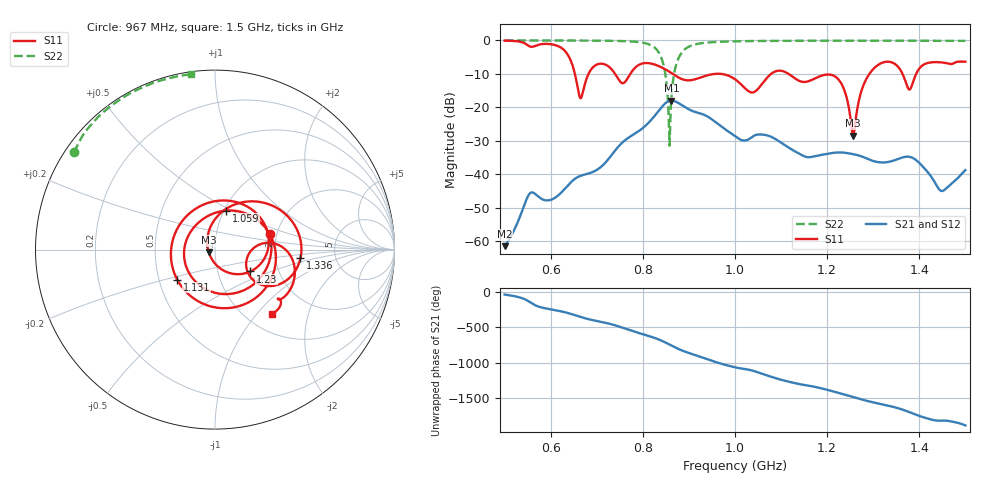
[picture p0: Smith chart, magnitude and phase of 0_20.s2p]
! TOUCHSTONE file generated by CST MICROWAVE STUDIO
! Date and time: Sat Oct 24 10:45:32 2020
! Project name: Scenario_1_Planar_Body_Tissue_Center.cst
! Parameters = {hfat=3; hmuscle=50; hskin=1.5; hgap=25; Wtissue=700; Ltissue=700; L_HA=400; MT=2.54; Rad_Dielectric=30; Rad_Lower=7.3; Rad_Upper=30; a_HA=580; a_WG=246; b_HA=500; b_WG=121; c_HA=0; c_WG=187; d_feed=85; dx1=502.08; h_feed=15; h_lower=18; h_upper=40}
! Header version: 2018
! Port assignment regex: !\s*Touchstone port\s*([0-9]+)\s*=\s*(CST MWS port|CST DS port)\s*([0-9]+|Zmin|Zmax)\s*\(\"(.*)\"\)(\s*mode\s*([0-9]+))?.*
! Touchstone port assignment:
! Touchstone port 1 = CST MWS port 1 ("")
! Touchstone port 2 = CST MWS port 2 ("")
# GHz S DB R 50
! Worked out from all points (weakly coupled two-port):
!   1003 points, 500 MHz to 1.5 GHz, reference 50 ohm
!   highest |S21| = -17.97 dB at 862 MHz (marker M1); lowest = -61.4 dB at 500 MHz (marker M2)
!   lowest |S11| = -28.5 dB at 1.256 GHz (marker M3), VSWR 1.08, Z = 46.6 - j1.4 ohm
!   |S11| at or under -10 dB: 865.2 MHz to 955.4 MHz (90.14 MHz wide, 9.9 % of centre); 970.4 MHz to 1.078 GHz (107.8 MHz wide, 10.5 % of centre); 1.116 GHz to 1.292 GHz (175.2 MHz wide, 14.6 % of centre) (the widest 3 of 6)
!   |S22| runs from -31.4 to 0.0 dB; largest |S21 - S12| = 8.3e-06
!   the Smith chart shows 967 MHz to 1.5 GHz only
!   S11 on the Smith chart (normalised r, x): 967 MHz: 1.83, +0.36; 1.059 GHz: 1.03, +0.47; 1.131 GHz: 0.62, -0.22; 1.23 GHz: 1.44, -0.37; 1.336 GHz: 2.79, -0.35; 1.5 GHz: 1.30, -1.21
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0.5  -0.08 -121.8  -61.40 -40.8  -61.40 -40.8  -0.01 151.1
0.555  -1.81 -149.5  -45.63 -148.4  -45.63 -148.4  -0.01 147.4
0.604  -1.21 -178.9  -47.37 106.7  -47.37 106.7  -0.02 143.8
0.638  -4.47 136.3  -43.16 58.6  -43.16 58.6  -0.03 141.0
0.667  -16.85 167.3  -40.31 -0.2  -40.31 -0.2  -0.04 138.4
0.728  -8.05 96.8  -34.95 -91.4  -34.95 -91.4  -0.11 131.2
0.772  -10.15 -113.7  -28.74 177.7  -28.74 177.7  -0.28 122.5
0.797  -6.96 162.0  -26.47 127.7  -26.47 127.7  -0.61 114.0
0.834  -7.63 66.4  -21.04 49.2  -21.04 49.1  -3.46 83.8
0.862  -9.71 -12.3  -17.97 -38.2  -17.97 -38.2  -17.06 -134.8
0.876  -10.95 -57.0  -18.59 -82.0  -18.59 -82.0  -5.77 -166.3
0.912  -11.65 177.7  -21.28 -167.9  -21.28 -167.9  -1.23 161.8
0.967  -9.96 16.2  -25.36 72.6  -25.36 72.6  -0.41 145.4
1  -11.58 -68.5  -28.59 17.1  -28.59 17.1  -0.26 140.3
1.059  -12.90 73.7  -28.09 -74.3  -28.09 -74.3  -0.16 133.5
1.131  -11.41 -141.4  -33.17 153.3  -33.17 153.3  -0.11 127.1
1.167  -11.77 105.5  -34.75 110.6  -34.75 110.6  -0.10 124.2
1.23  -12.69 -31.6  -33.44 7.4  -33.44 7.4  -0.08 119.4
1.256  -28.46 -156.6  -33.93 -40.8  -33.93 -40.8  -0.08 117.4
1.334  -6.36 -3.1  -36.23 -163.8  -36.23 -163.8  -0.09 111.5
1.336  -6.40 -5.8  -36.17 -166.9  -36.17 -166.9  -0.09 111.4
1.5  -6.36 -48.2  -38.70 -79.9  -38.70 -79.9  -0.12 97.9
